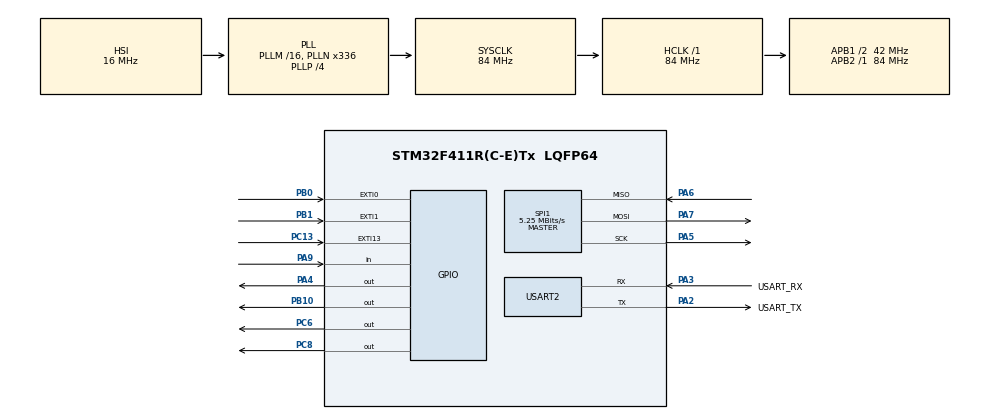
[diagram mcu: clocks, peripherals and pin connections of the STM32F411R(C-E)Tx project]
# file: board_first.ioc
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FREERTOS.Tasks01=defaultTask,24,128,StartDefaultTask,Default,NULL,Dynamic,NULL,NULL
Mcu.Family=STM32F4
Mcu.Name=STM32F411R(C-E)Tx
Mcu.Package=LQFP64
NVIC.EXTI1_IRQn=true\:6\:0\:true\:false\:true\:true\:true\:true\:true
NVIC.PriorityGroup=NVIC_PRIORITYGROUP_4
NVIC.TIM1_TRG_COM_TIM11_IRQn=true\:15\:0\:false\:false\:true\:false\:false\:true\:true
NVIC.TimeBase=TIM1_TRG_COM_TIM11_IRQn
NVIC.TimeBaseIP=TIM11
PA13.GPIO_Label=TMS
PA13.Mode=Serial_Wire
PA13.Signal=SYS_JTMS-SWDIO
PA14.GPIO_Label=TCK
PA14.Mode=Serial_Wire
PA14.Signal=SYS_JTCK-SWCLK
PA2.GPIO_Label=USART_TX
PA2.Mode=Asynchronous
PA2.Signal=USART2_TX
PA3.GPIO_Label=USART_RX
PA3.Mode=Asynchronous
PA3.Signal=USART2_RX
PA4.Signal=GPIO_Output
PA5.Mode=Full_Duplex_Master
PA5.Signal=SPI1_SCK
PA6.Mode=Full_Duplex_Master
PA6.Signal=SPI1_MISO
PA7.Mode=Full_Duplex_Master
PA7.Signal=SPI1_MOSI
PA9.GPIO_PuPd=GPIO_PULLUP
PA9.Signal=GPIO_Input
PB0.GPIO_ModeDefaultEXTI=GPIO_MODE_IT_FALLING
PB0.GPIO_PuPd=GPIO_PULLUP
PB0.Signal=GPXTI0
PB1.GPIO_ModeDefaultEXTI=GPIO_MODE_IT_FALLING
PB1.GPIO_PuPd=GPIO_PULLUP
PB1.Signal=GPXTI1
PB10.Signal=GPIO_Output
PB3.GPIO_Label=SWO
PB3.Signal=SYS_JTDO-SWO
PC13-ANTI_TAMP.GPIO_ModeDefaultEXTI=GPIO_MODE_IT_FALLING
PC13-ANTI_TAMP.Signal=GPXTI13
PC14-OSC32_IN.Mode=LSE-External-Oscillator
PC14-OSC32_IN.Signal=RCC_OSC32_IN
PC15-OSC32_OUT.Mode=LSE-External-Oscillator
PC15-OSC32_OUT.Signal=RCC_OSC32_OUT
PC6.Signal=GPIO_Output
PC8.Signal=GPIO_Output
PH0\ -\ OSC_IN.Mode=HSE-External-Clock-Source
PH0\ -\ OSC_IN.Signal=RCC_OSC_IN
PH1\ -\ OSC_OUT.Mode=HSE-External-Clock-Source
PH1\ -\ OSC_OUT.Signal=RCC_OSC_OUT
ProjectManager.HeapSize=0x200
ProjectManager.StackSize=0x400
ProjectManager.TargetToolchain=STM32CubeIDE
RCC.48MHZClocksFreq_Value=84000000
RCC.AHBFreq_Value=84000000
RCC.APB1CLKDivider=RCC_HCLK_DIV2
RCC.APB1Freq_Value=42000000
RCC.APB1TimFreq_Value=84000000
RCC.APB2Freq_Value=84000000
RCC.APB2TimFreq_Value=84000000
RCC.CortexFreq_Value=84000000
RCC.FLatency-AdvancedSettings=FLASH_LATENCY_2
RCC.HCLKFreq_Value=84000000
RCC.HSE_VALUE=8000000
RCC.HSI_VALUE=16000000
RCC.PLLN=336
RCC.PLLP=RCC_PLLP_DIV4
RCC.SYSCLKFreq_VALUE=84000000
RCC.SYSCLKSource=RCC_SYSCLKSOURCE_PLLCLK
RCC.VCOOutputFreq_Value=336000000
SPI1.BaudRatePrescaler=SPI_BAUDRATEPRESCALER_16
SPI1.CalculateBaudRate=5.25 MBits/s
SPI1.Direction=SPI_DIRECTION_2LINES
SPI1.Mode=SPI_MODE_MASTER
SPI1.VirtualType=VM_MASTER
USART2.VirtualMode=VM_ASYNC
VP_FREERTOS_VS_CMSIS_V2.Mode=CMSIS_V2
VP_SYS_VS_tim11.Mode=TIM11
board=NUCLEO-F411RE

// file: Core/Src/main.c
/* USER CODE BEGIN Header */
/**
  ******************************************************************************
  * @file           : main.c
  * @brief          : Main program body
  ******************************************************************************
  * @attention
  *
  * Copyright (c) 2026 STMicroelectronics.
  * All rights reserved.
  *
  * This software is licensed under terms that can be found in the LICENSE file
  * in the root directory of this software component.
  * If no LICENSE file comes with this software, it is provided AS-IS.
  *
  ******************************************************************************
  */
/* USER CODE END Header */
#include "main.h"
#include "cmsis_os.h"

/* USER CODE BEGIN Includes */
#include "mcp2515.h"
#include <stdio.h>
#include <string.h>
#include <stdbool.h>
/* USER CODE END Includes */

/* USER CODE BEGIN PD */
/* PA9 시작 적외선 센서 */
#define START_SENSOR_GPIO_Port GPIOA
#define START_SENSOR_Pin       GPIO_PIN_9
/* USER CODE END PD */

SPI_HandleTypeDef hspi1;

UART_HandleTypeDef huart2;

/* Definitions for defaultTask */
osThreadId_t defaultTaskHandle;
const osThreadAttr_t defaultTask_attributes = {
  .name = "defaultTask",
  .stack_size = 128 * 4,
  .priority = (osPriority_t) osPriorityNormal,
};
/* USER CODE BEGIN PV */
MCP2515_HandleTypeDef hmcp2515;

BeltStatus g_belt_status;

osMutexId_t beltMutex;
osMutexId_t piRspMutex;
osMutexId_t canMutex;         /* MCP2515 SPI 동시 접근 방지 */
osSemaphoreId_t sem_can_int;  /* MCP2515 INT 핀 낙하 → CanRxTask 즉시 기상 */

volatile bool    g_belt_ext_stop    = false;  /* 2번 보드 벨트 정지 요청 플래그 */

/* 3번 보드 공정1 완료 시 SLOT_AVAILABLE CAN 수신 → 증가.
 * IDLE→FORWARD 진입은 슬롯>0일 때만 허용, 슬롯 소비는 CAN 전송(HandleObstacleDetected) 시점. */
#define MAX_3RD_BOARD_SLOTS  2U
volatile uint8_t g_3rd_board_slots = 1U;  /* 초기값 1: 첫 약통은 즉시 투입 허용 */

static volatile bool     g_sensor_monitoring = false;
static volatile bool     g_sensor_triggered  = false;
static volatile uint32_t g_exti1_count       = 0U;  /* EXTI1 발화 횟수 (진단용) */

static uint8_t  g_pi_rsp_log[PI_RSP_LOG_SIZE];
static uint16_t g_pi_rsp_count = 0U;
/* USER CODE END PV */

void SystemClock_Config(void);
static void MX_GPIO_Init(void);
static void MX_USART2_UART_Init(void);
static void MX_SPI1_Init(void);
void StartDefaultTask(void *argument);

/* USER CODE BEGIN PFP */
static void BeltTask(void *argument);
static void DisplayTask(void *argument);
static void CanRxTask(void *argument);
static void Belt_SetRelay(bool on);
static void SensorMonitoring_Enable(void);
static void SensorMonitoring_Disable(void);
static bool Sensor_ConfirmDetected(void);
static void BeltStatus_Update(uint8_t stage, bool belt_on);
static void PiUart_FlushRx(void);
static void HandleObstacleDetected(void);
static bool VisionColor_IsValid(uint8_t color);
static bool VisionColor_IsOk(uint8_t color);

/* 신규 추가: 시작 센서 상태 읽기 함수 프로토타입 */
static bool ReadStartSensor(void);
/* USER CODE END PFP */

/* USER CODE BEGIN 0 */
int __io_putchar(int ch)
{
  HAL_UART_Transmit(&huart2, (uint8_t *)&ch, 1, HAL_MAX_DELAY);
  return ch;
}

/* 기존 센서 검출 확인 (비전 검사 트리거용) */
bool ReadSensor(void)
{
  return (HAL_GPIO_ReadPin(SENSOR_GPIO_Port, SENSOR_Pin) == GPIO_PIN_RESET);
}

/* PA9 시작 센서 상태 읽기 (물체 감지 시 true 반환) */
static bool ReadStartSensor(void)
{
  return (HAL_GPIO_ReadPin(START_SENSOR_GPIO_Port, START_SENSOR_Pin) == GPIO_PIN_RESET);
}

/* Arm EXTI interrupt for sensor detection. */
static void SensorMonitoring_Enable(void)
{
  g_sensor_triggered  = false;
  g_sensor_monitoring = false;
  __HAL_GPIO_EXTI_CLEAR_IT(SENSOR_Pin);
  g_sensor_monitoring = true;
}

/* Disarm EXTI interrupt and clear pending trigger flag. */
static void SensorMonitoring_Disable(void)
{
  g_sensor_monitoring = false;
  g_sensor_triggered  = false;
  __HAL_GPIO_EXTI_CLEAR_IT(SENSOR_Pin);
}

/* Read sensor three times with 1ms gaps to reject noise. */
static bool Sensor_ConfirmDetected(void)
{
  if (!ReadSensor()) return false;
  osDelay(1U);
  if (!ReadSensor()) return false;
  osDelay(1U);
  return ReadSensor();
}

/* EXTI callback:
   GPIO_PIN_0 (PB0) — MCP2515 INT: 메시지 수신 즉시 CanRxTask 기상
   GPIO_PIN_1 (PB1) — 컨베이어 센서: 릴레이 즉시 차단 후 BeltTask에 플래그 전달 */
void HAL_GPIO_EXTI_Callback(uint16_t GPIO_Pin)
{
  if (GPIO_Pin == MCP2515_INT_Pin)
  {
    osSemaphoreRelease(sem_can_int);
    return;
  }

  if (GPIO_Pin != SENSOR_Pin)
    return;

  g_exti1_count++;  /* ISR 발화 횟수 카운트 (g_sensor_monitoring 조건 전) */

  if (!g_sensor_monitoring)
    return;
  if (HAL_GPIO_ReadPin(SENSOR_GPIO_Port, SENSOR_Pin) != GPIO_PIN_RESET)
    return;

  for (volatile uint32_t i = 0U; i < 200U; i++)
    __NOP();

  if (HAL_GPIO_ReadPin(SENSOR_GPIO_Port, SENSOR_Pin) != GPIO_PIN_RESET)
    return;

  g_sensor_monitoring = false;
  g_sensor_triggered  = true;
  HAL_GPIO_WritePin(RELAY_GPIO_Port, RELAY_Pin, GPIO_PIN_RESET);
}

/* Update belt state for DisplayTask consumption. */
static void BeltStatus_Update(uint8_t stage, bool belt_on)
{
  osMutexAcquire(beltMutex, osWaitForever);
  g_belt_status.machine_stage = stage;
  g_belt_status.belt_running  = belt_on ? BELT_STATE_RUNNING : BELT_STATE_STOPPED;
  osMutexRelease(beltMutex);
}

/* Drain any leftover bytes from the UART RX buffer. */
static void PiUart_FlushRx(void)
{
  uint8_t dummy;
  while (HAL_UART_Receive(&huart2, &dummy, 1U, 1U) == HAL_OK) {}
}

/* Returns true for R/B/N vision response bytes. */
static bool VisionColor_IsValid(uint8_t color)
{
  return (color == CAN_COLOR_RED || color == CAN_COLOR_BLUE || color == CAN_COLOR_NG);
}

/* Returns true when the bottle passed vision inspection (red or blue). */
static bool VisionColor_IsOk(uint8_t color)
{
  return (color == CAN_COLOR_RED || color == CAN_COLOR_BLUE);
}

/* Send 'S' to Raspberry Pi immediately, receive one-byte inference result. */
static void HandleObstacleDetected(void)
{
  uint8_t tx_byte   = UART_CMD_START;
  uint8_t rx_byte   = CAN_COLOR_NG;
  uint8_t can_color = CAN_COLOR_NG;

  HAL_StatusTypeDef rx_status;
  osDelay(VISION_STABILIZE_MS);
  PiUart_FlushRx();

  HAL_UART_Transmit(&huart2, &tx_byte, 1U, HAL_MAX_DELAY);
  rx_status = HAL_UART_Receive(&huart2, &rx_byte, 1U, UART_RX_TIMEOUT_MS);

  if (rx_status != HAL_OK || !VisionColor_IsValid(rx_byte))
    can_color = CAN_COLOR_NG;
  else
    can_color = rx_byte;

  osMutexAcquire(piRspMutex, osWaitForever);
  g_pi_rsp_log[g_pi_rsp_count % PI_RSP_LOG_SIZE] = can_color;
  g_pi_rsp_count++;
  osMutexRelease(piRspMutex);

  /* 비전 검사 결과(색상 바이트)를 CAN으로 브로드캐스트 */
  static uint8_t s_can_seq = 0U;
  s_can_seq++;

  MCP2515_CanMsg can_tx = {
    .id       = CAN_ID_1ST_TX,
    .dlc      = 3U,
    .data     = {CAN_MSG_CONTAINER, s_can_seq, can_color},
    .extended = false,
  };
  osMutexAcquire(canMutex, osWaitForever);
  (void)MCP2515_Send(&hmcp2515, &can_tx);
  osMutexRelease(canMutex);

  /* 3번 보드 파이프라인에 진입 — 슬롯 1개 소비 (CAN 전송 시점) */
  if (g_3rd_board_slots > 0U)
    g_3rd_board_slots--;
}

/* Belt state machine.
   IDLE    : PA9 적외선 감지 센서 확인 -> 감지 시 1초 대기 -> FORWARD 전이
   FORWARD : holds actuator1 forward for 8s, then transitions to RUNNING.
   RUNNING : actuator1 backward, belt ON, sensor monitoring active. */
/* 릴레이를 켜거나 끌 때 g_belt_ext_stop을 확인해 외부 정지 요청을 항상 존중한다. */
static void Belt_SetRelay(bool on)
{
  if (on && g_belt_ext_stop)
    return;  /* 외부 정지 요청 중에는 켜지 않음 */
  HAL_GPIO_WritePin(RELAY_GPIO_Port, RELAY_Pin, on ? GPIO_PIN_SET : GPIO_PIN_RESET);
}

static void BeltTask(void *argument)
{
  (void)argument;

  const uint32_t forward_ms = ACT1_FORWARD_MS;

  uint8_t  current_stage    = MACHINE_STAGE_IDLE;
  uint32_t stage_start_tick = osKernelGetTickCount();
  bool     sensor_active    = false;

  /* 부팅 시 벨트 ON */
  Belt_SetRelay(true);

  for (;;)
  {
    uint32_t current_tick = osKernelGetTickCount();

    /* 비전 감지 처리 (FORWARD/RUNNING 공통): 무장 상태에서 감지되면 정지·검사 후 IDLE 복귀 */
    if (sensor_active && g_sensor_triggered)
    {
      if (Sensor_ConfirmDetected())
      {
        /* 비전 구역 도달 — 벨트 즉시 정지 (ISR이 이미 껐지만 명시적으로 재확인) */
        HAL_GPIO_WritePin(RELAY_GPIO_Port, RELAY_Pin, GPIO_PIN_RESET);
        SensorMonitoring_Disable();  /* g_sensor_triggered = false */
        sensor_active = false;

        HandleObstacleDetected();

        /* 약통을 다음 공정으로 이동: 0.5초 가동 후 IDLE 복귀 */
        Belt_SetRelay(true);
        osDelay(POST_VISION_BELT_MS);
        Belt_SetRelay(false);

        current_stage = MACHINE_STAGE_IDLE;

        /* IDLE 진입 후 벨트 재가동 */
        Belt_SetRelay(true);
      }
      else
      {
        g_sensor_triggered = false;
        SensorMonitoring_Enable();
      }
    }

    switch (current_stage)
    {
      case MACHINE_STAGE_IDLE:
        SensorMonitoring_Disable();

        /* 3번 보드 수용 가능 슬롯이 없으면 새 약통 투입 보류 */
        if (g_3rd_board_slots == 0U)
          break;

        /* PA9 적외선 센서 감지 상태 확인 */
        if (ReadStartSensor() == true)
        {
          /* 채터링 노이즈 방지를 위해 20ms 후 재확인 */
          osDelay(START_SENSOR_DEBOUNCE_MS);
          if (ReadStartSensor() == true)
          {
            osDelay(START_SENSOR_HOLD_MS);

            /* 액추에이터 전진과 동시에 비전 센서 무장 (슬롯은 CAN 전송 시 소비) */
            current_stage    = MACHINE_STAGE_FORWARD;
            stage_start_tick = osKernelGetTickCount();
            sensor_active    = true;
            SensorMonitoring_Enable();
          }
        }
        break;

      case MACHINE_STAGE_FORWARD:
        /* 비전 감지는 무장 유지 (FORWARD 진입 시 무장됨). 8초 전진 후 RUNNING 전이 */
        if ((current_tick - stage_start_tick) >= forward_ms)
        {
          current_stage = MACHINE_STAGE_RUNNING;
        }
        break;

      case MACHINE_STAGE_RUNNING:
        break;

      default:
        SensorMonitoring_Disable();
        current_stage = MACHINE_STAGE_IDLE;
        sensor_active = false;
        break;
    }

    /* 안전망: 2번 보드 정지 요청 중에는 매 루프 릴레이 강제 OFF 유지 */
    if (g_belt_ext_stop)
      HAL_GPIO_WritePin(RELAY_GPIO_Port, RELAY_Pin, GPIO_PIN_RESET);

    /* 액추에이터 방향: FORWARD만 전진, 나머지는 홈 위치 */
    if (current_stage == MACHINE_STAGE_FORWARD)
    {
      HAL_GPIO_WritePin(ACT1_IN1_GPIO_Port, ACT1_IN1_Pin, GPIO_PIN_SET);
      HAL_GPIO_WritePin(ACT1_IN2_GPIO_Port, ACT1_IN2_Pin, GPIO_PIN_RESET);
    }
    else
    {
      HAL_GPIO_WritePin(ACT1_IN1_GPIO_Port, ACT1_IN1_Pin, GPIO_PIN_RESET);
      HAL_GPIO_WritePin(ACT1_IN2_GPIO_Port, ACT1_IN2_Pin, GPIO_PIN_SET);
    }

    BeltStatus_Update(current_stage,
                      HAL_GPIO_ReadPin(RELAY_GPIO_Port, RELAY_Pin) == GPIO_PIN_SET);

    osDelay(current_stage == MACHINE_STAGE_RUNNING ? 10U : 50U);
  }
}

static void DisplayTask(void *argument)
{
  (void)argument;
  for (;;)
    osDelay(osWaitForever);
}

/* USER CODE END 0 */

int main(void)
{

  /* MCU Configuration--------------------------------------------------------*/

  /* Reset of all peripherals, Initializes the Flash interface and the Systick. */
  HAL_Init();

  /* Configure the system clock */
  SystemClock_Config();

  /* Initialize all configured peripherals */
  MX_GPIO_Init();
  MX_USART2_UART_Init();
  MX_SPI1_Init();
  /* USER CODE BEGIN 2 */
  HAL_Delay(500U);

  hmcp2515.hspi    = &hspi1;
  hmcp2515.cs_port = MCP2515_CS_GPIO_Port;
  hmcp2515.cs_pin  = MCP2515_CS_Pin;
  hmcp2515.osc_hz  = MCP2515_OSC_8MHZ;

  if (MCP2515_Init(&hmcp2515) != HAL_OK)
  {
    MCP2515_PrintDiag(&hmcp2515);
  }
  else
  {
    /* mask 0x7FE: bit0 무시 → 0x102(벨트 제어)와 0x103(슬롯 신호) 동시 수용 */
    MCP2515_SetAcceptanceFilter(&hmcp2515, CAN_ID_2ND_TX, 0x7FEU);
    MCP2515_SetNormalMode(&hmcp2515);
  }
  /* USER CODE END 2 */

  /* Init scheduler */
  osKernelInitialize();

  /* USER CODE BEGIN RTOS_MUTEX */
  beltMutex  = osMutexNew(NULL);
  piRspMutex = osMutexNew(NULL);
  canMutex   = osMutexNew(NULL);
  if (beltMutex == NULL || piRspMutex == NULL || canMutex == NULL)
    Error_Handler();
  /* USER CODE END RTOS_MUTEX */

  /* USER CODE BEGIN RTOS_SEMAPHORES */
  sem_can_int = osSemaphoreNew(2U, 0U, NULL);  /* 최대 2 (MCP2515 RX 버퍼 수) */
  if (sem_can_int == NULL) Error_Handler();

  /* 세마포어 생성 후 NVIC 활성화 — ISR에서 NULL 접근 방지 */
  __HAL_GPIO_EXTI_CLEAR_IT(MCP2515_INT_Pin);
  HAL_NVIC_SetPriority(EXTI0_IRQn, 5, 0);
  HAL_NVIC_EnableIRQ(EXTI0_IRQn);
  /* USER CODE END RTOS_SEMAPHORES */

  /* Create the thread(s) */
  /* creation of defaultTask */
  defaultTaskHandle = osThreadNew(StartDefaultTask, NULL, &defaultTask_attributes);

  /* USER CODE BEGIN RTOS_THREADS */
  static const osThreadAttr_t belt_attr = {
    .name       = "BeltTask",
    .stack_size = 512U * 4U,
    .priority   = osPriorityNormal,
  };
  static const osThreadAttr_t display_attr = {
    .name       = "Display",
    .stack_size = 512U * 4U,
    .priority   = osPriorityBelowNormal,
  };
  static const osThreadAttr_t can_rx_attr = {
    .name       = "CanRxTask",
    .stack_size = 256U * 4U,
    .priority   = osPriorityNormal,
  };
  if (osThreadNew(BeltTask,    NULL, &belt_attr)    == NULL ||
      osThreadNew(DisplayTask, NULL, &display_attr) == NULL ||
      osThreadNew(CanRxTask,   NULL, &can_rx_attr)  == NULL)
    Error_Handler();
  /* USER CODE END RTOS_THREADS */

  /* Start scheduler */
  osKernelStart();

  /* We should never get here as control is now taken by the scheduler */

  /* Infinite loop */
  while (1)
  {

  }
}

void SystemClock_Config(void)
{
  RCC_OscInitTypeDef RCC_OscInitStruct = {0};
  RCC_ClkInitTypeDef RCC_ClkInitStruct = {0};

  /** Configure the main internal regulator output voltage
  */
  __HAL_RCC_PWR_CLK_ENABLE();
  __HAL_PWR_VOLTAGESCALING_CONFIG(PWR_REGULATOR_VOLTAGE_SCALE1);

  /** Initializes the RCC Oscillators according to the specified parameters
  * in the RCC_OscInitTypeDef structure.
  */
  RCC_OscInitStruct.OscillatorType = RCC_OSCILLATORTYPE_HSI;
  RCC_OscInitStruct.HSIState = RCC_HSI_ON;
  RCC_OscInitStruct.HSICalibrationValue = RCC_HSICALIBRATION_DEFAULT;
  RCC_OscInitStruct.PLL.PLLState = RCC_PLL_ON;
  RCC_OscInitStruct.PLL.PLLSource = RCC_PLLSOURCE_HSI;
  RCC_OscInitStruct.PLL.PLLM = 16;
  RCC_OscInitStruct.PLL.PLLN = 336;
  RCC_OscInitStruct.PLL.PLLP = RCC_PLLP_DIV4;
  RCC_OscInitStruct.PLL.PLLQ = 4;
  if (HAL_RCC_OscConfig(&RCC_OscInitStruct) != HAL_OK)
  {
    Error_Handler();
  }

  /** Initializes the CPU, AHB and APB buses clocks
  */
  RCC_ClkInitStruct.ClockType = RCC_CLOCKTYPE_HCLK|RCC_CLOCKTYPE_SYSCLK
                              |RCC_CLOCKTYPE_PCLK1|RCC_CLOCKTYPE_PCLK2;
  RCC_ClkInitStruct.SYSCLKSource = RCC_SYSCLKSOURCE_PLLCLK;
  RCC_ClkInitStruct.AHBCLKDivider = RCC_SYSCLK_DIV1;
  RCC_ClkInitStruct.APB1CLKDivider = RCC_HCLK_DIV2;
  RCC_ClkInitStruct.APB2CLKDivider = RCC_HCLK_DIV1;

  if (HAL_RCC_ClockConfig(&RCC_ClkInitStruct, FLASH_LATENCY_2) != HAL_OK)
  {
    Error_Handler();
  }
}

static void MX_SPI1_Init(void)
{

  /* SPI1 parameter configuration*/
  hspi1.Instance = SPI1;
  hspi1.Init.Mode = SPI_MODE_MASTER;
  hspi1.Init.Direction = SPI_DIRECTION_2LINES;
  hspi1.Init.DataSize = SPI_DATASIZE_8BIT;
  hspi1.Init.CLKPolarity = SPI_POLARITY_LOW;
  hspi1.Init.CLKPhase = SPI_PHASE_1EDGE;
  hspi1.Init.NSS = SPI_NSS_SOFT;
  hspi1.Init.BaudRatePrescaler = SPI_BAUDRATEPRESCALER_16;
  hspi1.Init.FirstBit = SPI_FIRSTBIT_MSB;
  hspi1.Init.TIMode = SPI_TIMODE_DISABLE;
  hspi1.Init.CRCCalculation = SPI_CRCCALCULATION_DISABLE;
  hspi1.Init.CRCPolynomial = 10;
  if (HAL_SPI_Init(&hspi1) != HAL_OK)
  {
    Error_Handler();
  }

}

static void MX_USART2_UART_Init(void)
{

  huart2.Instance = USART2;
  huart2.Init.BaudRate = 115200;
  huart2.Init.WordLength = UART_WORDLENGTH_8B;
  huart2.Init.StopBits = UART_STOPBITS_1;
  huart2.Init.Parity = UART_PARITY_NONE;
  huart2.Init.Mode = UART_MODE_TX_RX;
  huart2.Init.HwFlowCtl = UART_HWCONTROL_NONE;
  huart2.Init.OverSampling = UART_OVERSAMPLING_16;
  if (HAL_UART_Init(&huart2) != HAL_OK)
  {
    Error_Handler();
  }

}

static void MX_GPIO_Init(void)
{
  GPIO_InitTypeDef GPIO_InitStruct = {0};

  /* GPIO Ports Clock Enable */
  __HAL_RCC_GPIOC_CLK_ENABLE();
  __HAL_RCC_GPIOH_CLK_ENABLE();
  __HAL_RCC_GPIOA_CLK_ENABLE();
  __HAL_RCC_GPIOB_CLK_ENABLE();

  /*Configure GPIO pin Output Level */
  HAL_GPIO_WritePin(GPIOA, GPIO_PIN_4, GPIO_PIN_RESET);

  /*Configure GPIO pin Output Level */
  HAL_GPIO_WritePin(GPIOB, GPIO_PIN_10, GPIO_PIN_RESET);

  /*Configure GPIO pin Output Level */
  HAL_GPIO_WritePin(GPIOC, GPIO_PIN_6|GPIO_PIN_8, GPIO_PIN_RESET);

  /*Configure GPIO pin : PC13 */
  GPIO_InitStruct.Pin = GPIO_PIN_13;
  GPIO_InitStruct.Mode = GPIO_MODE_IT_FALLING;
  GPIO_InitStruct.Pull = GPIO_NOPULL;
  HAL_GPIO_Init(GPIOC, &GPIO_InitStruct);

  /*Configure GPIO pin : PA4 */
  GPIO_InitStruct.Pin = GPIO_PIN_4;
  GPIO_InitStruct.Mode = GPIO_MODE_OUTPUT_PP;
  GPIO_InitStruct.Pull = GPIO_NOPULL;
  GPIO_InitStruct.Speed = GPIO_SPEED_FREQ_LOW;
  HAL_GPIO_Init(GPIOA, &GPIO_InitStruct);

  /*Configure GPIO pins : PB0 PB1 */
  GPIO_InitStruct.Pin = GPIO_PIN_0|GPIO_PIN_1;
  GPIO_InitStruct.Mode = GPIO_MODE_IT_FALLING;
  GPIO_InitStruct.Pull = GPIO_PULLUP;
  HAL_GPIO_Init(GPIOB, &GPIO_InitStruct);

  /*Configure GPIO pin : PB10 */
  GPIO_InitStruct.Pin = GPIO_PIN_10;
  GPIO_InitStruct.Mode = GPIO_MODE_OUTPUT_PP;
  GPIO_InitStruct.Pull = GPIO_NOPULL;
  GPIO_InitStruct.Speed = GPIO_SPEED_FREQ_LOW;
  HAL_GPIO_Init(GPIOB, &GPIO_InitStruct);

  /*Configure GPIO pins : PC6 PC8 */
  GPIO_InitStruct.Pin = GPIO_PIN_6|GPIO_PIN_8;
  GPIO_InitStruct.Mode = GPIO_MODE_OUTPUT_PP;
  GPIO_InitStruct.Pull = GPIO_NOPULL;
  GPIO_InitStruct.Speed = GPIO_SPEED_FREQ_LOW;
  HAL_GPIO_Init(GPIOC, &GPIO_InitStruct);

  /*Configure GPIO pin : PA9 */
  GPIO_InitStruct.Pin = GPIO_PIN_9;
  GPIO_InitStruct.Mode = GPIO_MODE_INPUT;
  GPIO_InitStruct.Pull = GPIO_PULLUP;
  HAL_GPIO_Init(GPIOA, &GPIO_InitStruct);

  /* EXTI interrupt init*/
  HAL_NVIC_SetPriority(EXTI1_IRQn, 6, 0);
  HAL_NVIC_EnableIRQ(EXTI1_IRQn);

  /* USER CODE BEGIN MX_GPIO_Init_2 */
  /* Set actuator1 default position (backward) */
  HAL_GPIO_WritePin(ACT1_IN2_GPIO_Port, ACT1_IN2_Pin, GPIO_PIN_SET);

  /* CS must be HIGH (inactive) before first SPI transaction */
  HAL_GPIO_WritePin(MCP2515_CS_GPIO_Port, MCP2515_CS_Pin, GPIO_PIN_SET);
  /* USER CODE END MX_GPIO_Init_2 */
}

/* USER CODE BEGIN 4 */
static void CanRxTask(void *argument)
{
  (void)argument;
  MCP2515_CanMsg rx;
  uint8_t last_slot_seq = 0xFFU;  /* 직전에 처리된 슬롯 신호 seq — CAN 재전송 중복 차단 */

  for (;;)
  {
    osSemaphoreAcquire(sem_can_int, 100U);

    /* INT 1회에 버퍼에 쌓인 CAN 프레임을 모두 처리 */
    for (;;)
    {
      osMutexAcquire(canMutex, osWaitForever);
      HAL_StatusTypeDef st = MCP2515_Receive(&hmcp2515, &rx, 1U);
      osMutexRelease(canMutex);

      if (st != HAL_OK || rx.dlc < 1U)
        break;

      if (rx.id == CAN_ID_2ND_TX)
      {
        if (rx.data[0] == CAN_CMD_BELT_STOP)
        {
          g_belt_ext_stop = true;
          HAL_GPIO_WritePin(RELAY_GPIO_Port, RELAY_Pin, GPIO_PIN_RESET);
        }
        else if (rx.data[0] == CAN_CMD_BELT_RESUME)
        {
          if (!g_belt_ext_stop)
            continue;

          g_belt_ext_stop = false;
          /* 비전 검사 중이 아니면 즉시 벨트 재개 */
          if (!g_sensor_triggered)
            HAL_GPIO_WritePin(RELAY_GPIO_Port, RELAY_Pin, GPIO_PIN_SET);
        }
      }
      else if (rx.id == CAN_ID_3RD_TX)
      {
        /* 3번 보드 공정 완료 신호 — 슬롯 1개 반환.
         * dlc >= 2일 때 data[1]의 seq로 CAN 재전송 중복 차단 */
        if (rx.data[0] == CAN_CMD_SLOT_AVAILABLE)
        {
          if (rx.dlc >= 2U && rx.data[1] == last_slot_seq)
            continue;  /* 동일 seq = 재전송 프레임, 무시 */

          if (rx.dlc >= 2U)
            last_slot_seq = rx.data[1];

          if (g_3rd_board_slots < MAX_3RD_BOARD_SLOTS)
            g_3rd_board_slots++;
        }
      }
    }
  }
}
/* USER CODE END 4 */

void StartDefaultTask(void *argument)
{
  /* USER CODE BEGIN 5 */
  (void)argument;
  for (;;)
  {
    osDelay(osWaitForever);
  }
  /* USER CODE END 5 */
}

void HAL_TIM_PeriodElapsedCallback(TIM_HandleTypeDef *htim)
{
  if (htim->Instance == TIM11)
  {
    HAL_IncTick();
  }
}

void Error_Handler(void)
{
  __disable_irq();
  while (1)
  {
  }
}
